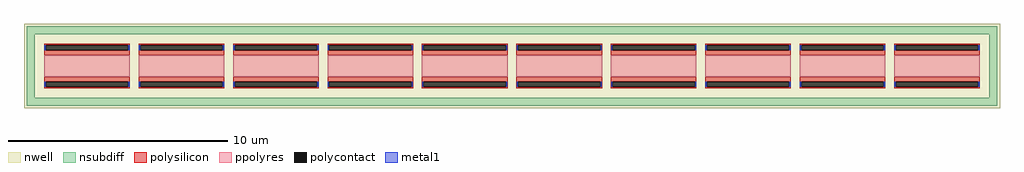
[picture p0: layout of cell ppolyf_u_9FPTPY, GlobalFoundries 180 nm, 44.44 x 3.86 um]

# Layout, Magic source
magic
tech gf180mcuC
magscale 1 10
<< nwell >>
rect -4444 -386 4444 386
<< nsubdiff >>
rect -4420 290 4420 362
rect -4420 -290 -4348 290
rect 4348 -290 4420 290
rect -4420 -362 4420 -290
<< polysilicon >>
rect -4260 189 -3480 202
rect -4260 143 -4247 189
rect -3493 143 -3480 189
rect -4260 100 -3480 143
rect -4260 -143 -3480 -100
rect -4260 -189 -4247 -143
rect -3493 -189 -3480 -143
rect -4260 -202 -3480 -189
rect -3400 189 -2620 202
rect -3400 143 -3387 189
rect -2633 143 -2620 189
rect -3400 100 -2620 143
rect -3400 -143 -2620 -100
rect -3400 -189 -3387 -143
rect -2633 -189 -2620 -143
rect -3400 -202 -2620 -189
rect -2540 189 -1760 202
rect -2540 143 -2527 189
rect -1773 143 -1760 189
rect -2540 100 -1760 143
rect -2540 -143 -1760 -100
rect -2540 -189 -2527 -143
rect -1773 -189 -1760 -143
rect -2540 -202 -1760 -189
rect -1680 189 -900 202
rect -1680 143 -1667 189
rect -913 143 -900 189
rect -1680 100 -900 143
rect -1680 -143 -900 -100
rect -1680 -189 -1667 -143
rect -913 -189 -900 -143
rect -1680 -202 -900 -189
rect -820 189 -40 202
rect -820 143 -807 189
rect -53 143 -40 189
rect -820 100 -40 143
rect -820 -143 -40 -100
rect -820 -189 -807 -143
rect -53 -189 -40 -143
rect -820 -202 -40 -189
rect 40 189 820 202
rect 40 143 53 189
rect 807 143 820 189
rect 40 100 820 143
rect 40 -143 820 -100
rect 40 -189 53 -143
rect 807 -189 820 -143
rect 40 -202 820 -189
rect 900 189 1680 202
rect 900 143 913 189
rect 1667 143 1680 189
rect 900 100 1680 143
rect 900 -143 1680 -100
rect 900 -189 913 -143
rect 1667 -189 1680 -143
rect 900 -202 1680 -189
rect 1760 189 2540 202
rect 1760 143 1773 189
rect 2527 143 2540 189
rect 1760 100 2540 143
rect 1760 -143 2540 -100
rect 1760 -189 1773 -143
rect 2527 -189 2540 -143
rect 1760 -202 2540 -189
rect 2620 189 3400 202
rect 2620 143 2633 189
rect 3387 143 3400 189
rect 2620 100 3400 143
rect 2620 -143 3400 -100
rect 2620 -189 2633 -143
rect 3387 -189 3400 -143
rect 2620 -202 3400 -189
rect 3480 189 4260 202
rect 3480 143 3493 189
rect 4247 143 4260 189
rect 3480 100 4260 143
rect 3480 -143 4260 -100
rect 3480 -189 3493 -143
rect 4247 -189 4260 -143
rect 3480 -202 4260 -189
<< polycontact >>
rect -4247 143 -3493 189
rect -4247 -189 -3493 -143
rect -3387 143 -2633 189
rect -3387 -189 -2633 -143
rect -2527 143 -1773 189
rect -2527 -189 -1773 -143
rect -1667 143 -913 189
rect -1667 -189 -913 -143
rect -807 143 -53 189
rect -807 -189 -53 -143
rect 53 143 807 189
rect 53 -189 807 -143
rect 913 143 1667 189
rect 913 -189 1667 -143
rect 1773 143 2527 189
rect 1773 -189 2527 -143
rect 2633 143 3387 189
rect 2633 -189 3387 -143
rect 3493 143 4247 189
rect 3493 -189 4247 -143
<< ppolyres >>
rect -4260 -100 -3480 100
rect -3400 -100 -2620 100
rect -2540 -100 -1760 100
rect -1680 -100 -900 100
rect -820 -100 -40 100
rect 40 -100 820 100
rect 900 -100 1680 100
rect 1760 -100 2540 100
rect 2620 -100 3400 100
rect 3480 -100 4260 100
<< metal1 >>
rect -4258 143 -4247 189
rect -3493 143 -3482 189
rect -3398 143 -3387 189
rect -2633 143 -2622 189
rect -2538 143 -2527 189
rect -1773 143 -1762 189
rect -1678 143 -1667 189
rect -913 143 -902 189
rect -818 143 -807 189
rect -53 143 -42 189
rect 42 143 53 189
rect 807 143 818 189
rect 902 143 913 189
rect 1667 143 1678 189
rect 1762 143 1773 189
rect 2527 143 2538 189
rect 2622 143 2633 189
rect 3387 143 3398 189
rect 3482 143 3493 189
rect 4247 143 4258 189
rect -4258 -189 -4247 -143
rect -3493 -189 -3482 -143
rect -3398 -189 -3387 -143
rect -2633 -189 -2622 -143
rect -2538 -189 -2527 -143
rect -1773 -189 -1762 -143
rect -1678 -189 -1667 -143
rect -913 -189 -902 -143
rect -818 -189 -807 -143
rect -53 -189 -42 -143
rect 42 -189 53 -143
rect 807 -189 818 -143
rect 902 -189 913 -143
rect 1667 -189 1678 -143
rect 1762 -189 1773 -143
rect 2527 -189 2538 -143
rect 2622 -189 2633 -143
rect 3387 -189 3398 -143
rect 3482 -189 3493 -143
rect 4247 -189 4258 -143
<< properties >>
string FIXED_BBOX -4384 -326 4384 326
string gencell ppolyf_u
string library gf180mcu
string parameters w 3.9 l 1.0 m 1 nx 10 wmin 0.80 lmin 1.00 rho 315 val 82.245 dummy 0 dw 0.07 term 0.0 sterm 0.0 caplen 0.4 snake 0 glc 0 grc 0 gtc 0 gbc 0 roverlap 0 endcov 100 full_metal 0
<< end >>
